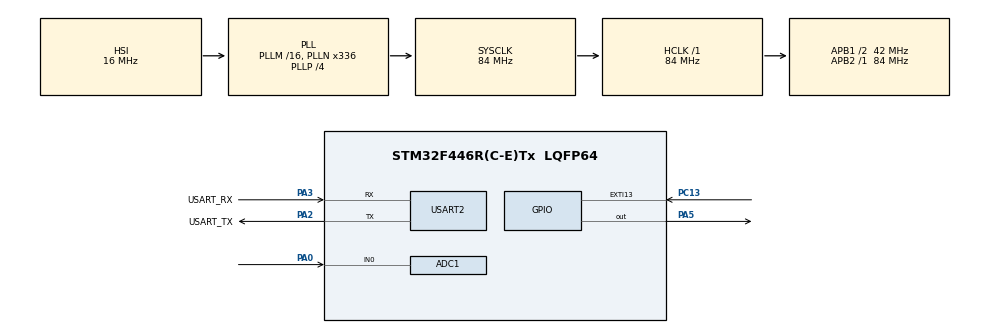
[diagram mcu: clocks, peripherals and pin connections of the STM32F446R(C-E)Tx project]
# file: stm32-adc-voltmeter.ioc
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ADC1.Channel-0\#ChannelRegularConversion=ADC_CHANNEL_0
ADC1.NbrOfConversionFlag=1
ADC1.Rank-0\#ChannelRegularConversion=1
ADC1.SamplingTime-0\#ChannelRegularConversion=ADC_SAMPLETIME_144CYCLES
ADC1.master=1
Mcu.Family=STM32F4
Mcu.Name=STM32F446R(C-E)Tx
Mcu.Package=LQFP64
NUCLEO-F446RE.BUTTON=1
NUCLEO-F446RE.LD1=true
NVIC.EXTI15_10_IRQn=true\:0\:0\:false\:false\:true\:false\:true\:true
NVIC.PriorityGroup=NVIC_PRIORITYGROUP_0
PA0-WKUP.Signal=ADCx_IN0
PA13.GPIO_Label=TMS
PA13.Signal=SYS_JTMS-SWDIO
PA14.GPIO_Label=TCK
PA14.Signal=SYS_JTCK-SWCLK
PA2.GPIO_Label=USART_TX
PA2.Mode=Asynchronous
PA2.Signal=USART2_TX
PA3.GPIO_Label=USART_RX
PA3.Mode=Asynchronous
PA3.Signal=USART2_RX
PA5.Signal=GPIO_Output
PB3.GPIO_Label=SWO
PB3.Signal=SYS_JTDO-SWO
PC13.Signal=GPXTI13
PC14-OSC32_IN.Signal=RCC_OSC32_IN
PC15-OSC32_OUT.Signal=RCC_OSC32_OUT
PH0-OSC_IN.Signal=RCC_OSC_IN
PH1-OSC_OUT.Signal=RCC_OSC_OUT
ProjectManager.HeapSize=0x200
ProjectManager.StackSize=0x400
ProjectManager.TargetToolchain=STM32CubeIDE
RCC.AHBFreq_Value=84000000
RCC.APB1CLKDivider=RCC_HCLK_DIV2
RCC.APB1Freq_Value=42000000
RCC.APB1TimFreq_Value=84000000
RCC.APB2Freq_Value=84000000
RCC.APB2TimFreq_Value=84000000
RCC.CortexFreq_Value=84000000
RCC.FLatency-AdvancedSettings=FLASH_LATENCY_2
RCC.HCLKFreq_Value=84000000
RCC.HSE_VALUE=8000000
RCC.HSI_VALUE=16000000
RCC.LSE_VALUE=32768
RCC.PLLN=336
RCC.PLLP=RCC_PLLP_DIV4
RCC.SYSCLKFreq_VALUE=84000000
RCC.SYSCLKSource=RCC_SYSCLKSOURCE_PLLCLK
RCC.USBFreq_Value=168000000
RCC.VCOOutputFreq_Value=336000000
SH.ADCx_IN0.0=ADC1_IN0,IN0
USART2.VirtualMode=VM_ASYNC
VP_NUCLEO-F446RE_VS_BSP_COMMON.Mode=COMMON
board=NUCLEO-F446RE

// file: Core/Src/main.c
/* USER CODE BEGIN Header */
/**
  ******************************************************************************
  * @file           : main.c
  * @brief          : Main program body
  ******************************************************************************
  * @attention
  *
  * Copyright (c) 2026 STMicroelectronics.
  * All rights reserved.
  *
  * This software is licensed under terms that can be found in the LICENSE file
  * in the root directory of this software component.
  * If no LICENSE file comes with this software, it is provided AS-IS.
  *
  ******************************************************************************
  */
/* USER CODE END Header */
#include "main.h"

/* USER CODE BEGIN Includes */

#include <stdio.h>
#include <string.h>

/* USER CODE END Includes */

/* USER CODE BEGIN PD */

#define ADC_VREF 3.31f

/* USER CODE END PD */

ADC_HandleTypeDef hadc1;

UART_HandleTypeDef huart2;

/* USER CODE BEGIN PV */

uint32_t adc_data = 0;

char uart_buffer[64];

/* USER CODE END PV */

void SystemClock_Config(void);
static void MX_GPIO_Init(void);
static void MX_ADC1_Init(void);
static void MX_USART2_UART_Init(void);

int main(void)
{

  /* MCU Configuration--------------------------------------------------------*/

  /* Reset of all peripherals, Initializes the Flash interface and the Systick. */
  HAL_Init();

  /* Configure the system clock */
  SystemClock_Config();

  /* Initialize all configured peripherals */
  MX_GPIO_Init();
  MX_ADC1_Init();
  MX_USART2_UART_Init();

  /* Initialize leds */
  BSP_LED_Init(LED2);

  /* Initialize USER push-button, will be used to trigger an interrupt each time it's pressed.*/
  BSP_PB_Init(BUTTON_USER, BUTTON_MODE_EXTI);

  /* Infinite loop */
  while (1)
  {

    /* USER CODE BEGIN 3 */

	  HAL_ADC_Start(&hadc1);

	  if (HAL_ADC_PollForConversion(&hadc1, 100) == HAL_OK)
	  {
	      adc_data = HAL_ADC_GetValue(&hadc1); // 0 - 4095

	      // V = ADC_data * V_ref / 4095
	      float voltage = (float)adc_data * ADC_VREF / 4095.0f;

	      // 3.3 / 4095 = 0.000806 V

	      snprintf(uart_buffer, sizeof(uart_buffer), "ADC: %lu | Voltage: %.3f V\r\n", adc_data, voltage);

	      HAL_UART_Transmit(
	          &huart2,
	          (uint8_t *)uart_buffer,
	          strlen(uart_buffer),
	          HAL_MAX_DELAY
	      );
	  }

	  HAL_ADC_Stop(&hadc1);

	  HAL_Delay(200);
  }

//  ADC: 0 | Voltage: 0.000 V
//  ADC: 3 | Voltage: 0.002 V
//  ADC: 3 | Voltage: 0.002 V
//  ADC: 0 | Voltage: 0.000 V
//  ADC: 0 | Voltage: 0.000 V
//  ADC: 124 | Voltage: 0.100 V
//  ADC: 268 | Voltage: 0.217 V
//  ADC: 448 | Voltage: 0.362 V
//  ADC: 484 | Voltage: 0.391 V
//  ADC: 493 | Voltage: 0.398 V
//  ADC: 517 | Voltage: 0.418 V
//  ADC: 680 | Voltage: 0.550 V
//  ADC: 808 | Voltage: 0.653 V
//  ADC: 877 | Voltage: 0.709 V
//  ADC: 1003 | Voltage: 0.811 V
//  ADC: 1024 | Voltage: 0.828 V
//  ADC: 1022 | Voltage: 0.826 V
//  ADC: 1128 | Voltage: 0.912 V
//  ADC: 1339 | Voltage: 1.082 V
//  ADC: 1592 | Voltage: 1.287 V
//  ADC: 1753 | Voltage: 1.417 V
//  ADC: 1734 | Voltage: 1.402 V
//  ADC: 1751 | Voltage: 1.415 V
//  ADC: 1847 | Voltage: 1.493 V
//  ADC: 2073 | Voltage: 1.676 V
//  ADC: 2324 | Voltage: 1.878 V
//  ADC: 2604 | Voltage: 2.105 V
//  ADC: 2934 | Voltage: 2.372 V
//  ADC: 3357 | Voltage: 2.713 V
//  ADC: 3541 | Voltage: 2.862 V
//  ADC: 3541 | Voltage: 2.862 V
//  ADC: 3574 | Voltage: 2.889 V
//  ADC: 3816 | Voltage: 3.084 V
//  ADC: 4092 | Voltage: 3.308 V
//  ADC: 4095 | Voltage: 3.310 V

  /* USER CODE END 3 */
}

void SystemClock_Config(void)
{
  RCC_OscInitTypeDef RCC_OscInitStruct = {0};
  RCC_ClkInitTypeDef RCC_ClkInitStruct = {0};

  /** Configure the main internal regulator output voltage
  */
  __HAL_RCC_PWR_CLK_ENABLE();
  __HAL_PWR_VOLTAGESCALING_CONFIG(PWR_REGULATOR_VOLTAGE_SCALE3);

  /** Initializes the RCC Oscillators according to the specified parameters
  * in the RCC_OscInitTypeDef structure.
  */
  RCC_OscInitStruct.OscillatorType = RCC_OSCILLATORTYPE_HSI;
  RCC_OscInitStruct.HSIState = RCC_HSI_ON;
  RCC_OscInitStruct.HSICalibrationValue = RCC_HSICALIBRATION_DEFAULT;
  RCC_OscInitStruct.PLL.PLLState = RCC_PLL_ON;
  RCC_OscInitStruct.PLL.PLLSource = RCC_PLLSOURCE_HSI;
  RCC_OscInitStruct.PLL.PLLM = 16;
  RCC_OscInitStruct.PLL.PLLN = 336;
  RCC_OscInitStruct.PLL.PLLP = RCC_PLLP_DIV4;
  RCC_OscInitStruct.PLL.PLLQ = 2;
  RCC_OscInitStruct.PLL.PLLR = 2;
  if (HAL_RCC_OscConfig(&RCC_OscInitStruct) != HAL_OK)
  {
    Error_Handler();
  }

  /** Initializes the CPU, AHB and APB buses clocks
  */
  RCC_ClkInitStruct.ClockType = RCC_CLOCKTYPE_HCLK|RCC_CLOCKTYPE_SYSCLK
                              |RCC_CLOCKTYPE_PCLK1|RCC_CLOCKTYPE_PCLK2;
  RCC_ClkInitStruct.SYSCLKSource = RCC_SYSCLKSOURCE_PLLCLK;
  RCC_ClkInitStruct.AHBCLKDivider = RCC_SYSCLK_DIV1;
  RCC_ClkInitStruct.APB1CLKDivider = RCC_HCLK_DIV2;
  RCC_ClkInitStruct.APB2CLKDivider = RCC_HCLK_DIV1;

  if (HAL_RCC_ClockConfig(&RCC_ClkInitStruct, FLASH_LATENCY_2) != HAL_OK)
  {
    Error_Handler();
  }
}

static void MX_ADC1_Init(void)
{

  ADC_ChannelConfTypeDef sConfig = {0};

  /** Configure the global features of the ADC (Clock, Resolution, Data Alignment and number of conversion)
  */
  hadc1.Instance = ADC1;
  hadc1.Init.ClockPrescaler = ADC_CLOCK_SYNC_PCLK_DIV4;
  hadc1.Init.Resolution = ADC_RESOLUTION_12B;
  hadc1.Init.ScanConvMode = DISABLE;
  hadc1.Init.ContinuousConvMode = DISABLE;
  hadc1.Init.DiscontinuousConvMode = DISABLE;
  hadc1.Init.ExternalTrigConvEdge = ADC_EXTERNALTRIGCONVEDGE_NONE;
  hadc1.Init.ExternalTrigConv = ADC_SOFTWARE_START;
  hadc1.Init.DataAlign = ADC_DATAALIGN_RIGHT;
  hadc1.Init.NbrOfConversion = 1;
  hadc1.Init.DMAContinuousRequests = DISABLE;
  hadc1.Init.EOCSelection = ADC_EOC_SINGLE_CONV;
  if (HAL_ADC_Init(&hadc1) != HAL_OK)
  {
    Error_Handler();
  }

  /** Configure for the selected ADC regular channel its corresponding rank in the sequencer and its sample time.
  */
  sConfig.Channel = ADC_CHANNEL_0;
  sConfig.Rank = 1;
  sConfig.SamplingTime = ADC_SAMPLETIME_144CYCLES;
  if (HAL_ADC_ConfigChannel(&hadc1, &sConfig) != HAL_OK)
  {
    Error_Handler();
  }

}

static void MX_USART2_UART_Init(void)
{

  huart2.Instance = USART2;
  huart2.Init.BaudRate = 115200;
  huart2.Init.WordLength = UART_WORDLENGTH_8B;
  huart2.Init.StopBits = UART_STOPBITS_1;
  huart2.Init.Parity = UART_PARITY_NONE;
  huart2.Init.Mode = UART_MODE_TX_RX;
  huart2.Init.HwFlowCtl = UART_HWCONTROL_NONE;
  huart2.Init.OverSampling = UART_OVERSAMPLING_16;
  if (HAL_UART_Init(&huart2) != HAL_OK)
  {
    Error_Handler();
  }

}

static void MX_GPIO_Init(void)
{

  /* GPIO Ports Clock Enable */
  __HAL_RCC_GPIOC_CLK_ENABLE();
  __HAL_RCC_GPIOH_CLK_ENABLE();
  __HAL_RCC_GPIOA_CLK_ENABLE();
  __HAL_RCC_GPIOB_CLK_ENABLE();

}

void Error_Handler(void)
{
  __disable_irq();
  while (1)
  {
  }
}
